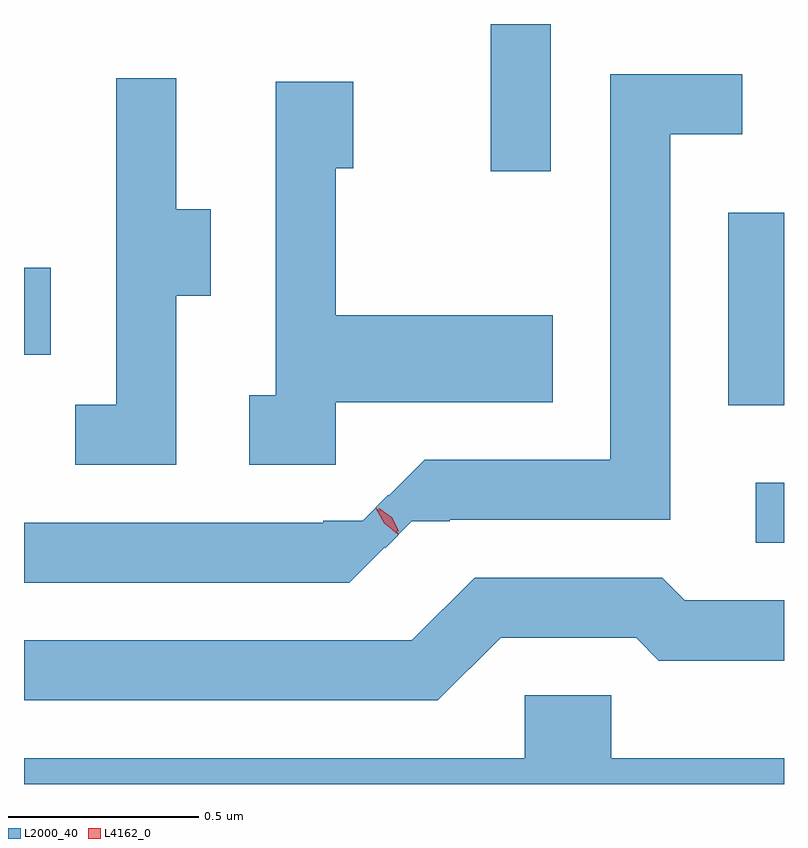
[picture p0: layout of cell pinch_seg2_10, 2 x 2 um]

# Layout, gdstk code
import gdstk
lib = gdstk.Library(unit=1e-6, precision=1e-09)
def R(c, l, rs):  # rectangles x0, y0, x1, y1
    for r in rs: c.add(gdstk.rectangle(r[:2], r[2:], *l))
def P(c, l, *ps):  # polygons
    for p in ps: c.add(gdstk.Polygon(p, *l))
L2000_40 = (2000, 40)
L4162_0 = (4162, 0)

pinch_seg2_10 = lib.new_cell('pinch_seg2_10')
R(pinch_seg2_10, L2000_40, [(1878.873,1080.231,1878.948,1080.389), (1878.801,1080.593,1878.948,1081.099), (1876.948,1080.726,1877.019,1080.954), (1878.176,1081.208,1878.334,1081.596)])
P(pinch_seg2_10, L2000_40, [(1877.897,1080.219),(1877.898,1080.217),(1877.968,1080.287),(1878.068,1080.287),(1878.068,1080.291),(1878.649,1080.291),(1878.649,1081.306),(1878.838,1081.306),(1878.838,1081.464),(1878.491,1081.464),(1878.491,1080.449),(1878.003,1080.449),(1877.908,1080.355),(1877.907,1080.357),(1877.839,1080.289),(1877.735,1080.289),(1877.735,1080.284),(1876.948,1080.284),(1876.948,1080.126),(1877.804,1080.126)],
  [(1877.349,1080.881),(1877.439,1080.881),(1877.439,1081.109),(1877.349,1081.109),(1877.349,1081.453),(1877.191,1081.453),(1877.191,1080.594),(1877.083,1080.594),(1877.083,1080.436),(1877.349,1080.436)],
  [(1877.769,1080.601),(1878.339,1080.601),(1878.339,1080.829),(1877.769,1080.829),(1877.769,1081.216),(1877.814,1081.216),(1877.814,1081.444),(1877.611,1081.444),(1877.611,1080.619),(1877.541,1080.619),(1877.541,1080.436),(1877.769,1080.436)],
  [(1878.202,1079.981),(1878.559,1079.981),(1878.619,1079.921),(1878.948,1079.921),(1878.948,1080.079),(1878.687,1080.079),(1878.627,1080.139),(1878.134,1080.139),(1877.969,1079.974),(1876.948,1079.974),(1876.948,1079.816),(1878.037,1079.816)],
  [(1878.948,1079.664),(1878.494,1079.664),(1878.494,1079.829),(1878.266,1079.829),(1878.266,1079.664),(1876.948,1079.664),(1876.948,1079.596),(1878.948,1079.596)])
P(pinch_seg2_10, L4162_0, [(1877.932,1080.253),(1877.896,1080.282),(1877.874,1080.322),(1877.874,1080.322),(1877.875,1080.322),(1877.911,1080.294),(1877.933,1080.254),(1877.933,1080.253)],
  [(1877.933,1080.261),(1877.9,1080.285),(1877.882,1080.322),(1877.882,1080.322),(1877.883,1080.322),(1877.916,1080.298),(1877.934,1080.262),(1877.934,1080.261)])

lib.write_gds('pinch_seg2_10.gds')
